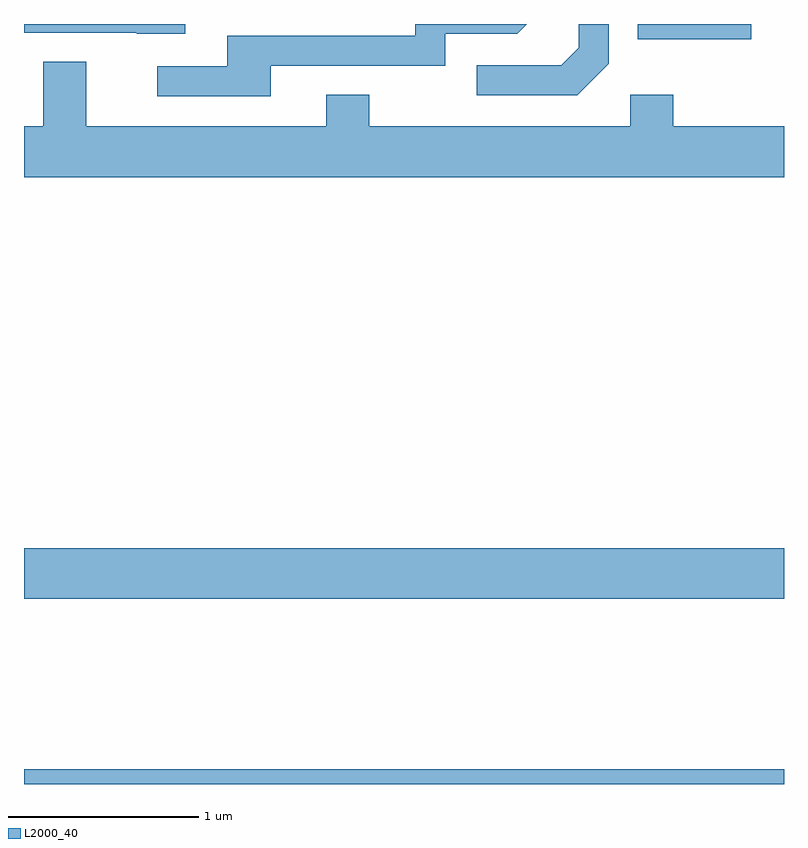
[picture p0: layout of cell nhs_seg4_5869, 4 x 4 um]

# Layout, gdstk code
import gdstk
lib = gdstk.Library(unit=1e-6, precision=1e-09)
def R(c, l, rs):  # rectangles x0, y0, x1, y1
    for r in rs: c.add(gdstk.rectangle(r[:2], r[2:], *l))
def P(c, l, *ps):  # polygons
    for p in ps: c.add(gdstk.Polygon(p, *l))
L2000_40 = (2000, 40)

nhs_seg4_5869 = lib.new_cell('nhs_seg4_5869')
R(nhs_seg4_5869, L2000_40, [(357.611,1295.982,361.611,1296.059), (357.611,1296.956,361.611,1297.224), (360.841,1299.901,361.439,1299.982)])
P(nhs_seg4_5869, L2000_40, [(360.689,1299.774),(360.689,1299.982),(360.531,1299.982),(360.531,1299.857),(360.439,1299.764),(359.993,1299.764),(359.993,1299.606),(360.522,1299.606)],
  [(358.909,1299.761),(359.829,1299.761),(359.829,1299.931),(360.207,1299.931),(360.258,1299.982),(359.671,1299.982),(359.671,1299.919),(358.681,1299.919),(358.681,1299.759),(358.313,1299.759),(358.313,1299.601),(358.909,1299.601)],
  [(358.459,1299.982),(357.611,1299.982),(357.611,1299.936),(358.205,1299.936),(358.205,1299.931),(358.459,1299.931)],
  [(361.611,1299.444),(361.029,1299.444),(361.029,1299.609),(360.801,1299.609),(360.801,1299.444),(359.429,1299.444),(359.429,1299.609),(359.201,1299.609),(359.201,1299.444),(357.939,1299.444),(357.939,1299.784),(357.711,1299.784),(357.711,1299.444),(357.611,1299.444),(357.611,1299.176),(361.611,1299.176)])

lib.write_gds('nhs_seg4_5869.gds')
